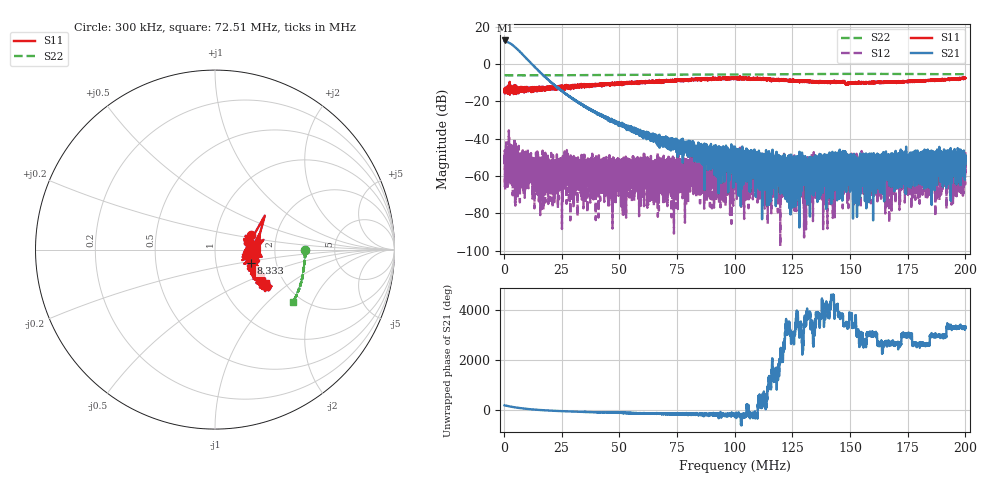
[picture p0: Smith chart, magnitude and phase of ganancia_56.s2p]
# Hz S DB R 50
! CMT, M5065, 19127446, 24.2.4/2
! Date: 11/8/2024 6:48:25 PM
! Data: Format (Calibration Info)
! Freq	S11:dB/Ang(F2)	S21:dB/Ang(F2)	S12:dB/Ang(F2)	S22:dB/Ang(F2)
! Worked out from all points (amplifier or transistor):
!   9000 points, 300 kHz to 200 MHz, reference 50 ohm
!   highest |S21| = 12.7 dB at 388.8 kHz (marker M1)
!   |S21| within 3 dB of that: start of sweep to 4.294 MHz
!   unconditionally stable (mu >= 1): start of sweep to end of sweep
!   at 33.59 MHz: K = 4193.85, MAG = -20.1 dB, |S12| = -60.0 dB
!   at 100.2 MHz: K = 398187.11, MAG = -54.9 dB, |S12| = -65.3 dB
!   at 200 MHz: K = 29549.87, MAG = -46.6 dB, |S12| = -51.2 dB
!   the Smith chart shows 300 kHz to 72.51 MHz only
!   S11 on the Smith chart (normalised r, x): 300 kHz: 1.48, +0.25; 8.333 MHz: 1.48, -0.23; 72.51 MHz: 1.61, -0.68
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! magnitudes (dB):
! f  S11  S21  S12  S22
! 300 kHz  -13.2  12.4  -48.6  -6.0
! 388.8 kHz  -14.6  12.7  -46.2  -6.0
! 8.333 MHz  -13.4  4.9  -59.4  -6.0
! 9.554 MHz  -13.3  3.4  -67.3  -6.0
! 17.59 MHz  -13.6  -6.6  -63.4  -6.0
! 18.83 MHz  -13.3  -8.0  -58.7  -6.0
! 33.59 MHz  -10.9  -21.8  -60.0  -5.9
! 45.02 MHz  -10.9  -29.3  -58.2  -5.8
! 48.06 MHz  -10.3  -31.3  -57.1  -5.8
! 54.38 MHz  -9.4  -34.4  -71.5  -5.7
! 58.95 MHz  -9.4  -38.2  -54.3  -5.7
! 66.87 MHz  -9.6  -41.4  -60.3  -5.7
! 72.51 MHz  -9.4  -40.9  -57.6  -5.6
! 100.2 MHz  -7.9  -57.1  -65.3  -5.6
! 122.1 MHz  -8.8  -59.1  -53.5  -5.4
! 133.4 MHz  -9.3  -53.4  -48.5  -5.3
! 142.4 MHz  -9.4  -55.4  -58.2  -5.2
! 147.9 MHz  -10.2  -51.3  -55.7  -5.2
! 153.3 MHz  -9.9  -56.9  -55.8  -5.2
! 166.7 MHz  -9.5  -56.8  -58.9  -5.2
! 198.2 MHz  -7.9  -56.1  -54.0  -5.4
! 200 MHz  -7.4  -48.9  -51.2  -5.4
